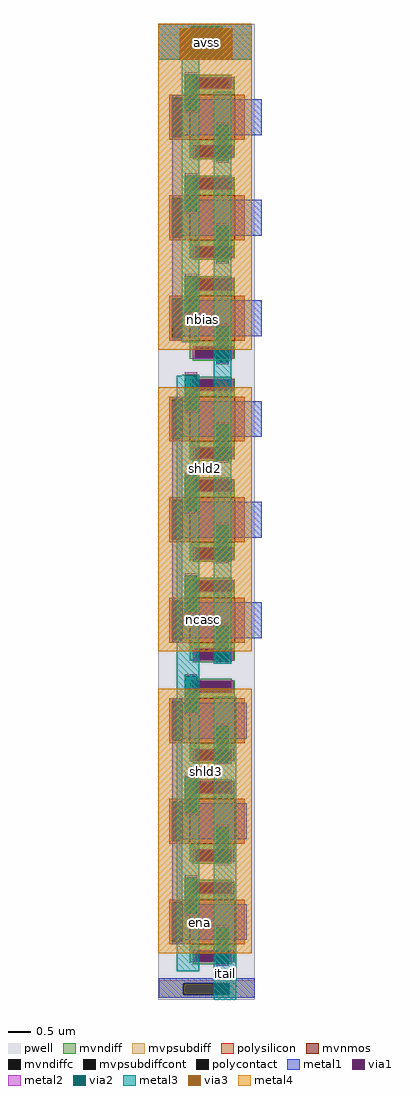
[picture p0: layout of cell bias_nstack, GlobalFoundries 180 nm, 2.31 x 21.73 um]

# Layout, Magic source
magic
tech gf180mcuD
magscale 1 10
<< pwell >>
rect 1171 -1598 1602 2748
<< mvpsubdiff >>
rect 1188 2671 1588 2702
rect 1188 2617 1288 2671
rect 1486 2617 1588 2671
rect 1188 2591 1588 2617
rect 1173 -1526 1602 -1513
rect 1173 -1576 1283 -1526
rect 1488 -1576 1602 -1526
rect 1173 -1590 1602 -1576
<< mvpsubdiffcont >>
rect 1288 2617 1486 2671
rect 1283 -1576 1488 -1526
<< metal1 >>
rect 1171 2671 1587 2748
rect 1171 2617 1288 2671
rect 1486 2617 1587 2671
rect 1171 2587 1587 2617
rect 1233 2251 1633 2411
rect 1233 1963 1279 2251
rect 1233 1803 1633 1963
rect 1233 1515 1279 1803
rect 1233 1401 1633 1515
rect 1240 1356 1633 1401
rect 1233 908 1633 1067
rect 1233 619 1279 908
rect 1233 459 1633 619
rect 1233 171 1279 459
rect 1233 11 1633 171
rect 1233 -437 1566 -277
rect 1233 -725 1279 -437
rect 1233 -885 1566 -725
rect 1233 -1173 1279 -885
rect 1233 -1333 1566 -1173
rect 1173 -1526 1602 -1503
rect 1173 -1576 1283 -1526
rect 1488 -1576 1602 -1526
rect 1173 -1590 1602 -1576
<< metal2 >>
rect 1171 2587 1587 2748
<< metal3 >>
rect 1171 2587 1587 2748
rect 1277 1328 1355 2587
rect 1254 -1472 1355 1180
rect 1419 -103 1497 2443
rect 1419 -1598 1520 -251
<< metal4 >>
rect 1171 1296 1587 2748
rect 1171 -48 1587 1129
rect 1171 -1393 1587 -215
use bias_stack_via  bias_stack_via_0
transform 1 0 403 0 1 302
box 922 2153 1105 2209
use bias_stack_via  bias_stack_via_1
transform 1 0 403 0 1 -146
box 922 2153 1105 2209
use bias_stack_via  bias_stack_via_2
transform 1 0 403 0 1 -2
box 922 2153 1105 2209
use bias_stack_via  bias_stack_via_3
transform 1 0 403 0 1 -450
box 922 2153 1105 2209
use bias_stack_via  bias_stack_via_4
transform 1 0 403 0 1 -594
box 922 2153 1105 2209
use bias_stack_via  bias_stack_via_5
transform 1 0 403 0 1 -898
box 922 2153 1105 2209
use bias_stack_via  bias_stack_via_6
transform 1 0 403 0 1 -1042
box 922 2153 1105 2209
use bias_stack_via  bias_stack_via_7
transform 1 0 403 0 1 -1346
box 922 2153 1105 2209
use bias_stack_via  bias_stack_via_8
transform 1 0 403 0 1 -1490
box 922 2153 1105 2209
use bias_stack_via  bias_stack_via_9
transform 1 0 403 0 1 -1794
box 922 2153 1105 2209
use bias_stack_via  bias_stack_via_10
transform 1 0 403 0 1 -1938
box 922 2153 1105 2209
use bias_stack_via  bias_stack_via_11
transform 1 0 403 0 1 -2242
box 922 2153 1105 2209
use bias_stack_via  bias_stack_via_12
transform 1 0 403 0 1 -2386
box 922 2153 1105 2209
use bias_stack_via  bias_stack_via_13
transform 1 0 403 0 1 -2690
box 922 2153 1105 2209
use bias_stack_via  bias_stack_via_14
transform 1 0 403 0 1 -2834
box 922 2153 1105 2209
use bias_stack_via  bias_stack_via_15
transform 1 0 403 0 1 -3138
box 922 2153 1105 2209
use bias_stack_via  bias_stack_via_16
transform 1 0 403 0 1 -3282
box 922 2153 1105 2209
use bias_stack_via  bias_stack_via_17
transform 1 0 403 0 1 -3586
box 922 2153 1105 2209
use nfet_06v0_6R5Q3A  nfet_06v0_6R5Q3A_0 paramcells
array 0 8 -448 0 0 400
transform 0 1 1388 -1 0 -1253
box -220 -200 220 200
use via_Y6H4DQ  via_Y6H4DQ_0 paramcells
transform 1 0 1386 0 1 2667
box -82 -80 82 80
use via_Y6HE6N  via_Y6HE6N_0 paramcells
transform 1 0 1458 0 1 -1368
box -38 -80 38 100
use via_Y6HE6N  via_Y6HE6N_1
transform 1 0 1317 0 1 -1145
box -38 -80 38 100
use via_Y6HE6N  via_Y6HE6N_2
transform 1 0 1458 0 1 -920
box -38 -80 38 100
use via_Y6HE6N  via_Y6HE6N_3
transform 1 0 1317 0 1 -697
box -38 -80 38 100
use via_Y6HE6N  via_Y6HE6N_4
transform 1 0 1458 0 1 -471
box -38 -80 38 100
use via_Y6HE6N  via_Y6HE6N_5
transform 1 0 1317 0 1 -249
box -38 -80 38 100
use via_Y6HE6N  via_Y6HE6N_6
transform 1 0 1458 0 1 -23
box -38 -80 38 100
use via_Y6HE6N  via_Y6HE6N_7
transform 1 0 1317 0 1 199
box -38 -80 38 100
use via_Y6HE6N  via_Y6HE6N_8
transform 1 0 1458 0 1 424
box -38 -80 38 100
use via_Y6HE6N  via_Y6HE6N_9
transform 1 0 1317 0 1 647
box -38 -80 38 100
use via_Y6HE6N  via_Y6HE6N_10
transform 1 0 1458 0 1 873
box -38 -80 38 100
use via_Y6HE6N  via_Y6HE6N_11
transform 1 0 1317 0 1 1095
box -38 -80 38 100
use via_Y6HE6N  via_Y6HE6N_12
transform 1 0 1458 0 1 1310
box -38 -80 38 100
use via_Y6HE6N  via_Y6HE6N_13
transform 1 0 1317 0 1 1533
box -38 -80 38 100
use via_Y6HE6N  via_Y6HE6N_14
transform 1 0 1458 0 1 1758
box -38 -80 38 100
use via_Y6HE6N  via_Y6HE6N_15
transform 1 0 1317 0 1 1981
box -38 -80 38 100
use via_Y6HE6N  via_Y6HE6N_16
transform 1 0 1458 0 1 2207
box -38 -80 38 100
use via_Y6HE6N  via_Y6HE6N_17
transform 1 0 1317 0 1 2430
box -38 -80 38 100
use via_Y6HG9Q  via_Y6HG9Q_0 paramcells
transform 1 0 1384 0 1 2657
box -128 -80 128 80
<< labels >>
flabel metal3 1419 -1598 1520 -1367 0 FreeSans 738 90 0 0 itail
port 4 nsew
flabel metal1 1241 -1288 1472 -1223 0 FreeSans 738 0 0 0 ena
port 3 nsew
flabel metal4 1386 -582 1386 -582 0 FreeSans 369 0 0 0 shld3
port 7 nsew
flabel metal1 1258 56 1489 129 0 FreeSans 738 0 0 0 ncasc
port 2 nsew
flabel metal4 1382 768 1382 768 0 FreeSans 369 0 0 0 shld2
port 6 nsew
flabel metal1 1255 1401 1486 1463 0 FreeSans 738 0 0 0 nbias
port 1 nsew
flabel metal3 1269 2588 1500 2743 0 FreeSans 738 0 0 0 avss
port 0 nsew
<< end >>

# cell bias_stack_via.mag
magic
tech gf180mcuD
magscale 1 10
<< metal1 >>
rect 922 2155 934 2207
rect 1093 2155 1105 2207
<< via1 >>
rect 934 2155 1093 2207
<< metal2 >>
rect 922 2207 1105 2209
rect 922 2155 934 2207
rect 1093 2155 1105 2207
rect 922 2153 1105 2155
<< end >>

# cell nfet_06v0_6R5Q3A: kit device nfet_05v0, w 1.0 l 1.0 m 1 nf 1 diffcov 85 polycov 100 guard 0 glc 0 grc 0 gtc 0 gbc 0 tbcov 100 rlcov 100 topc 0 botc 1 poverlap 0 doverlap 0 lmin 0.7 wmin 0.3 class mosfet full_metal 0 compatible {nfet_03v3 nfet_05v0 nfet_06v0 nfet_06v0_nvt}

# cell via_Y6H4DQ: kit device via, metalbot metal1 metaltop metal3 nxcuts 2 nycuts 2 orient default pattern none

# cell via_Y6HE6N: kit device via, metalbot metal2 metaltop metal3 nxcuts 1 nycuts 2 orient default pattern none

# cell via_Y6HG9Q: kit device via, metalbot metal3 metaltop metal4 nxcuts 3 nycuts 2 orient default pattern none
